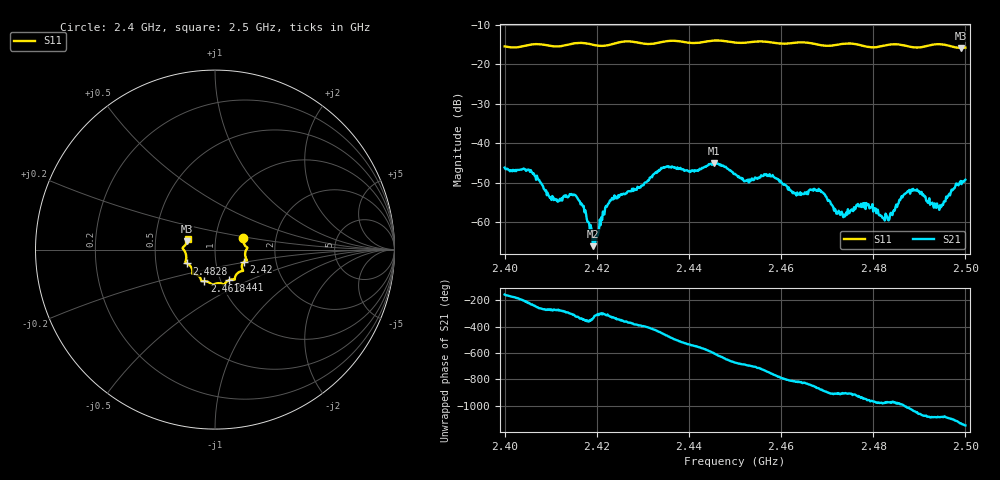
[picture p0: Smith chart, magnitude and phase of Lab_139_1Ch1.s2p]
# Hz S RI R 50
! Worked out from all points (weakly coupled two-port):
!   601 points, 2.4 GHz to 2.5 GHz, reference 50 ohm
!   highest |S21| = -44.99 dB at 2.4455 GHz (marker M1); lowest = -66.1 dB at 2.4192 GHz (marker M2)
!   lowest |S11| = -15.8 dB at 2.499 GHz (marker M3), VSWR 1.39, Z = 36.5 + j3.49 ohm
!   |S11| at or under -10 dB: start of sweep to end of sweep
!   S12 and S22 are empty: the file has one direction only
!   S11 on the Smith chart (normalised r, x): 2.4 GHz: 1.36, +0.18; 2.42 GHz: 1.36, -0.20; 2.441 GHz: 1.10, -0.39; 2.4618 GHz: 0.84, -0.30; 2.4828 GHz: 0.72, -0.11; 2.5 GHz: 0.73, +0.09
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2.4e9  0.1573 0.0629  -0.00455 -0.00185  0 0  0 0
2.405333e9  0.1769 0.013  -0.00347 0.00301  0 0  0 0
2.409667e9  0.1733 -0.00306  0.000156 0.00211  0 0  0 0
2.416667e9  0.1777 -0.0601  0.00159 0.000646  0 0  0 0
2.419167e9  0.1654 -0.0653  0.000459 0.000185  0 0  0 0
2.42e9  0.1594 -0.0696  0.000443 0.000493  0 0  0 0
2.423333e9  0.1503 -0.1008  0.00179 0.000936  0 0  0 0
2.433333e9  0.1122 -0.151  0.000979 -0.00427  0 0  0 0
2.441e9  0.0783 -0.1696  -0.0045 0.000383  0 0  0 0
2.4455e9  0.0519 -0.1943  -0.00248 0.00505  0 0  0 0
2.45e9  0.0284 -0.1872  0.0028 0.00298  0 0  0 0
2.458e9  -0.0246 -0.1882  0.00307 -0.00229  0 0  0 0
2.461833e9  -0.0593 -0.1757  8.58e-05 -0.00255  0 0  0 0
2.466667e9  -0.0778 -0.1682  -0.0015 -0.00206  0 0  0 0
2.473333e9  -0.1222 -0.135  -0.00123 5.11e-05  0 0  0 0
2.478333e9  -0.127 -0.1119  -0.000996 0.00107  0 0  0 0
2.482833e9  -0.1577 -0.0773  -0.000304 0.00119  0 0  0 0
2.483333e9  -0.1608 -0.0759  -0.000315 0.001  0 0  0 0
2.487333e9  -0.1614 -0.0568  0.000908 0.00221  0 0  0 0
2.4945e9  -0.1804 0.00977  0.00163 -0.000133  0 0  0 0
2.499e9  -0.1548 0.0466  0.00212 -0.00256  0 0  0 0
2.5e9  -0.1517 0.0611  0.0013 -0.00319  0 0  0 0
